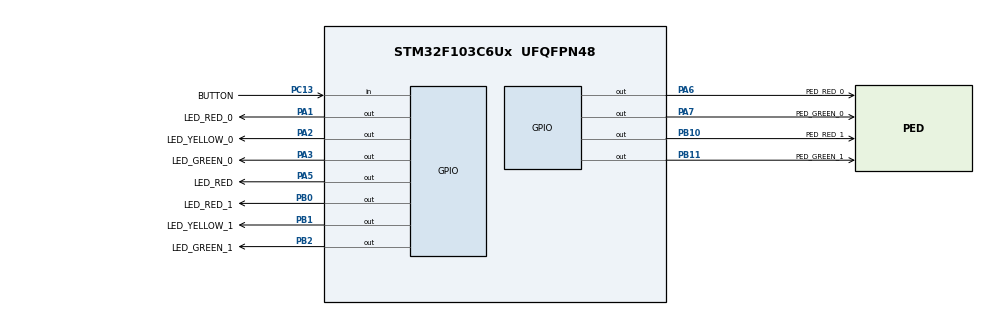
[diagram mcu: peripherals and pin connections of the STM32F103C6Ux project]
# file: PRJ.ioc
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Mcu.Family=STM32F1
Mcu.Name=STM32F103C6Ux
Mcu.Package=UFQFPN48
NVIC.PriorityGroup=NVIC_PRIORITYGROUP_4
NVIC.TIM2_IRQn=true\:0\:0\:false\:false\:true\:true\:true
PA1.GPIO_Label=LED_RED_0
PA1.Signal=GPIO_Output
PA2.GPIO_Label=LED_YELLOW_0
PA2.Signal=GPIO_Output
PA3.GPIO_Label=LED_GREEN_0
PA3.Signal=GPIO_Output
PA5.GPIO_Label=LED_RED
PA5.Signal=GPIO_Output
PA6.GPIO_Label=PED_RED_0
PA6.Signal=GPIO_Output
PA7.GPIO_Label=PED_GREEN_0
PA7.Signal=GPIO_Output
PB0.GPIO_Label=LED_RED_1
PB0.Signal=GPIO_Output
PB1.GPIO_Label=LED_YELLOW_1
PB1.Signal=GPIO_Output
PB10.GPIO_Label=PED_RED_1
PB10.Signal=GPIO_Output
PB11.GPIO_Label=PED_GREEN_1
PB11.Signal=GPIO_Output
PB2.GPIO_Label=LED_GREEN_1
PB2.Signal=GPIO_Output
PC13-TAMPER-RTC.GPIO_Label=BUTTON
PC13-TAMPER-RTC.GPIO_PuPd=GPIO_PULLUP
PC13-TAMPER-RTC.Signal=GPIO_Input
ProjectManager.HeapSize=0x200
ProjectManager.StackSize=0x400
ProjectManager.TargetToolchain=STM32CubeIDE
RCC.APB1Freq_Value=8000000
RCC.APB2Freq_Value=8000000
TIM2.Period=9
TIM2.Prescaler=7999
VP_SYS_VS_ND.Mode=No_Debug
VP_TIM2_VS_ClockSourceINT.Mode=Internal
board=custom

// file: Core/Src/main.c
/* USER CODE BEGIN Header */
/**
  ******************************************************************************
  * @file           : main.c
  * @brief          : Main program body
  ******************************************************************************
  * @attention
  *
  * <h2><center>&copy; Copyright (c) 2022 STMicroelectronics.
  * All rights reserved.</center></h2>
  *
  * This software component is licensed by ST under BSD 3-Clause license,
  * the "License"; You may not use this file except in compliance with the
  * License. You may obtain a copy of the License at:
  *                        opensource.org/licenses/BSD-3-Clause
  *
  ******************************************************************************
  */
/* USER CODE END Header */
#include "main.h"

/* USER CODE BEGIN Includes */
#define NORMAL_STATE GPIO_PIN_SET
#define PRESSED_STATE GPIO_PIN_RESET
/* USER CODE END Includes */

TIM_HandleTypeDef htim2;

void SystemClock_Config(void);
static void MX_GPIO_Init(void);
static void MX_TIM2_Init(void);

/* USER CODE BEGIN 0 */
int timer0_counter = 0;
int timer0_flag = 0;
void setTimer0(int duration) {
	timer0_counter = duration / 10;
	timer0_flag = 0;
}
void timerRun() {
	if (timer0_counter > 0) {
		timer0_counter--;
		if (timer0_counter <= 0) {
			timer0_flag = 1;
		}
	}
}

//********************************************************************************************//
int KeyGen0 = NORMAL_STATE;
int KeyGen1 = NORMAL_STATE;
int KeyGen2 = NORMAL_STATE;
int KeyGen3 = NORMAL_STATE;

int BUTTON_flag = 0;

int BUTTON_PRESSED() {
	if (BUTTON_flag == 1) {
		//BUTTON_flag = 0;
		return 1;
	}
	return 0;
}

void getKeyInput() {
	KeyGen0 = KeyGen1;
	KeyGen1 = KeyGen2;
	KeyGen2 = HAL_GPIO_ReadPin(BUTTON_GPIO_Port, BUTTON_Pin);

	if ((KeyGen0 == KeyGen1) && (KeyGen1 == KeyGen2)) {
		if (KeyGen3 != KeyGen2) {
			KeyGen3 = KeyGen2;
			if (KeyGen2 == NORMAL_STATE) {
				//TODO
				BUTTON_flag = 1;
			}
		}
	}
}

//********************************************************************************************//

int fsm_status = 0;
int counter = 0;
int red_length = 5;
int yellow_length = 2;
int green_length = 3;
int total_length = 10;

void fsm_run() {
	switch (fsm_status) {
		case 0:
			setTimer0(10);
			counter = total_length;
			HAL_GPIO_WritePin(LED_RED_GPIO_Port, LED_RED_Pin, 1);
			HAL_GPIO_WritePin(LED_RED_0_GPIO_Port, LED_RED_0_Pin, 1);
			HAL_GPIO_WritePin(LED_YELLOW_0_GPIO_Port, LED_YELLOW_0_Pin, 1);
			HAL_GPIO_WritePin(LED_GREEN_0_GPIO_Port, LED_GREEN_0_Pin, 1);
			HAL_GPIO_WritePin(LED_RED_1_GPIO_Port, LED_RED_1_Pin, 1);
			HAL_GPIO_WritePin(LED_YELLOW_1_GPIO_Port, LED_YELLOW_1_Pin, 1);
			HAL_GPIO_WritePin(LED_GREEN_1_GPIO_Port, LED_GREEN_1_Pin, 1);
			HAL_GPIO_WritePin(PED_RED_0_GPIO_Port, PED_RED_0_Pin, 1);
			HAL_GPIO_WritePin(PED_GREEN_0_GPIO_Port, PED_GREEN_0_Pin, 1);
			HAL_GPIO_WritePin(PED_RED_1_GPIO_Port, PED_RED_1_Pin, 1);
			HAL_GPIO_WritePin(PED_GREEN_1_GPIO_Port, PED_GREEN_1_Pin, 1);
			fsm_status = 1;
			break;
		case 1:
			if (green_length + yellow_length < counter && counter <= total_length) {
				HAL_GPIO_WritePin(LED_RED_0_GPIO_Port, LED_RED_0_Pin, 0);
				HAL_GPIO_WritePin(LED_YELLOW_0_GPIO_Port, LED_YELLOW_0_Pin, 1);
				HAL_GPIO_WritePin(LED_GREEN_0_GPIO_Port, LED_GREEN_0_Pin, 1);
				HAL_GPIO_WritePin(PED_RED_0_GPIO_Port, PED_RED_0_Pin, 1);
				HAL_GPIO_WritePin(PED_GREEN_0_GPIO_Port, PED_GREEN_0_Pin, 0);
				if (BUTTON_PRESSED() == 1) HAL_GPIO_WritePin(LED_RED_GPIO_Port, LED_RED_Pin, 0);
				//counter_0--;
			}

			if (red_length + yellow_length < counter && counter <= total_length) {
				HAL_GPIO_WritePin(LED_RED_1_GPIO_Port, LED_RED_1_Pin, 1);
				HAL_GPIO_WritePin(LED_YELLOW_1_GPIO_Port, LED_YELLOW_1_Pin, 1);
				HAL_GPIO_WritePin(LED_GREEN_1_GPIO_Port, LED_GREEN_1_Pin, 0);
				HAL_GPIO_WritePin(PED_RED_1_GPIO_Port, PED_RED_1_Pin, 0);
				HAL_GPIO_WritePin(PED_GREEN_1_GPIO_Port, PED_GREEN_1_Pin, 1);
				//counter_1--;
			}

			if (red_length < counter && counter <= total_length - green_length) {
				HAL_GPIO_WritePin(LED_RED_1_GPIO_Port, LED_RED_1_Pin, 1);
				HAL_GPIO_WritePin(LED_YELLOW_1_GPIO_Port, LED_YELLOW_1_Pin, 0);
				HAL_GPIO_WritePin(LED_GREEN_1_GPIO_Port, LED_GREEN_1_Pin, 1);
				HAL_GPIO_WritePin(PED_RED_1_GPIO_Port, PED_RED_1_Pin, 0);
				HAL_GPIO_WritePin(PED_GREEN_1_GPIO_Port, PED_GREEN_1_Pin, 1);
				//counter_1--;
			}

			if (timer0_flag == 1) {
				counter--;
				setTimer0(1000);
			}

			if (counter == green_length + yellow_length) {
				fsm_status = 2;
				BUTTON_flag = 0;
				break;
			}

			fsm_status = 1;

			break;

		case 2:
			if (yellow_length < counter && counter <= green_length + yellow_length) {
				HAL_GPIO_WritePin(LED_RED_0_GPIO_Port, LED_RED_0_Pin, 1);
				HAL_GPIO_WritePin(LED_YELLOW_0_GPIO_Port, LED_YELLOW_0_Pin, 1);
				HAL_GPIO_WritePin(LED_GREEN_0_GPIO_Port, LED_GREEN_0_Pin, 0);
				HAL_GPIO_WritePin(PED_RED_0_GPIO_Port, PED_RED_0_Pin, 0);
				HAL_GPIO_WritePin(PED_GREEN_0_GPIO_Port, PED_GREEN_0_Pin, 1);
				if (BUTTON_PRESSED() == 0) HAL_GPIO_WritePin(LED_RED_GPIO_Port, LED_RED_Pin, 1);
				//counter_0--;
			}

			if (0 < counter && counter <= yellow_length) {
				HAL_GPIO_WritePin(LED_RED_0_GPIO_Port, LED_RED_0_Pin, 1);
				HAL_GPIO_WritePin(LED_YELLOW_0_GPIO_Port, LED_YELLOW_0_Pin, 0);
				HAL_GPIO_WritePin(LED_GREEN_0_GPIO_Port, LED_GREEN_0_Pin, 1);
				HAL_GPIO_WritePin(PED_RED_0_GPIO_Port, PED_RED_0_Pin, 0);
				HAL_GPIO_WritePin(PED_GREEN_0_GPIO_Port, PED_GREEN_0_Pin, 1);
				if (BUTTON_PRESSED() == 0) HAL_GPIO_WritePin(LED_RED_GPIO_Port, LED_RED_Pin, 1);
				//counter_0--;
			}

			if (0 < counter && counter <= red_length) {
				HAL_GPIO_WritePin(LED_RED_1_GPIO_Port, LED_RED_1_Pin, 0);
				HAL_GPIO_WritePin(LED_YELLOW_1_GPIO_Port, LED_YELLOW_1_Pin, 1);
				HAL_GPIO_WritePin(LED_GREEN_1_GPIO_Port, LED_GREEN_1_Pin, 1);
				HAL_GPIO_WritePin(PED_RED_1_GPIO_Port, PED_RED_1_Pin, 1);
				HAL_GPIO_WritePin(PED_GREEN_1_GPIO_Port, PED_GREEN_1_Pin, 0);
				//counter_1--;
			}

			if (timer0_flag == 1) {
				counter--;
				setTimer0(1000);
			}

			if (counter == 0) {
				fsm_status = 0;
				break;
			}

			/*if (//buttonpressed) {
			 * fsm_status = 3;
			 * setTimer0()
			 * }*/

			fsm_status = 2;
			break;

		default:
			break;
	}
}
/* USER CODE END 0 */

int main(void)
{

  /* MCU Configuration--------------------------------------------------------*/

  /* Reset of all peripherals, Initializes the Flash interface and the Systick. */
  HAL_Init();

  /* Configure the system clock */
  SystemClock_Config();

  /* Initialize all configured peripherals */
  MX_GPIO_Init();
  MX_TIM2_Init();
  /* USER CODE BEGIN 2 */
  HAL_TIM_Base_Start_IT(&htim2);
  /* USER CODE END 2 */

  /* Infinite loop */
  /* USER CODE BEGIN WHILE */
  while (1)
  {

	  fsm_run();
    /* USER CODE END WHILE */

  }
}

void SystemClock_Config(void)
{
  RCC_OscInitTypeDef RCC_OscInitStruct = {0};
  RCC_ClkInitTypeDef RCC_ClkInitStruct = {0};

  /** Initializes the RCC Oscillators according to the specified parameters
  * in the RCC_OscInitTypeDef structure.
  */
  RCC_OscInitStruct.OscillatorType = RCC_OSCILLATORTYPE_HSI;
  RCC_OscInitStruct.HSIState = RCC_HSI_ON;
  RCC_OscInitStruct.HSICalibrationValue = RCC_HSICALIBRATION_DEFAULT;
  RCC_OscInitStruct.PLL.PLLState = RCC_PLL_NONE;
  if (HAL_RCC_OscConfig(&RCC_OscInitStruct) != HAL_OK)
  {
    Error_Handler();
  }
  /** Initializes the CPU, AHB and APB buses clocks
  */
  RCC_ClkInitStruct.ClockType = RCC_CLOCKTYPE_HCLK|RCC_CLOCKTYPE_SYSCLK
                              |RCC_CLOCKTYPE_PCLK1|RCC_CLOCKTYPE_PCLK2;
  RCC_ClkInitStruct.SYSCLKSource = RCC_SYSCLKSOURCE_HSI;
  RCC_ClkInitStruct.AHBCLKDivider = RCC_SYSCLK_DIV1;
  RCC_ClkInitStruct.APB1CLKDivider = RCC_HCLK_DIV1;
  RCC_ClkInitStruct.APB2CLKDivider = RCC_HCLK_DIV1;

  if (HAL_RCC_ClockConfig(&RCC_ClkInitStruct, FLASH_LATENCY_0) != HAL_OK)
  {
    Error_Handler();
  }
}

static void MX_TIM2_Init(void)
{

  TIM_ClockConfigTypeDef sClockSourceConfig = {0};
  TIM_MasterConfigTypeDef sMasterConfig = {0};

  htim2.Instance = TIM2;
  htim2.Init.Prescaler = 7999;
  htim2.Init.CounterMode = TIM_COUNTERMODE_UP;
  htim2.Init.Period = 9;
  htim2.Init.ClockDivision = TIM_CLOCKDIVISION_DIV1;
  htim2.Init.AutoReloadPreload = TIM_AUTORELOAD_PRELOAD_DISABLE;
  if (HAL_TIM_Base_Init(&htim2) != HAL_OK)
  {
    Error_Handler();
  }
  sClockSourceConfig.ClockSource = TIM_CLOCKSOURCE_INTERNAL;
  if (HAL_TIM_ConfigClockSource(&htim2, &sClockSourceConfig) != HAL_OK)
  {
    Error_Handler();
  }
  sMasterConfig.MasterOutputTrigger = TIM_TRGO_RESET;
  sMasterConfig.MasterSlaveMode = TIM_MASTERSLAVEMODE_DISABLE;
  if (HAL_TIMEx_MasterConfigSynchronization(&htim2, &sMasterConfig) != HAL_OK)
  {
    Error_Handler();
  }

}

static void MX_GPIO_Init(void)
{
  GPIO_InitTypeDef GPIO_InitStruct = {0};

  /* GPIO Ports Clock Enable */
  __HAL_RCC_GPIOC_CLK_ENABLE();
  __HAL_RCC_GPIOA_CLK_ENABLE();
  __HAL_RCC_GPIOB_CLK_ENABLE();

  /*Configure GPIO pin Output Level */
  HAL_GPIO_WritePin(GPIOA, LED_RED_0_Pin|LED_YELLOW_0_Pin|LED_GREEN_0_Pin|LED_RED_Pin
                          |PED_RED_0_Pin|PED_GREEN_0_Pin, GPIO_PIN_RESET);

  /*Configure GPIO pin Output Level */
  HAL_GPIO_WritePin(GPIOB, LED_RED_1_Pin|LED_YELLOW_1_Pin|LED_GREEN_1_Pin|PED_RED_1_Pin
                          |PED_GREEN_1_Pin, GPIO_PIN_RESET);

  /*Configure GPIO pin : BUTTON_Pin */
  GPIO_InitStruct.Pin = BUTTON_Pin;
  GPIO_InitStruct.Mode = GPIO_MODE_INPUT;
  GPIO_InitStruct.Pull = GPIO_PULLUP;
  HAL_GPIO_Init(BUTTON_GPIO_Port, &GPIO_InitStruct);

  /*Configure GPIO pins : LED_RED_0_Pin LED_YELLOW_0_Pin LED_GREEN_0_Pin LED_RED_Pin
                           PED_RED_0_Pin PED_GREEN_0_Pin */
  GPIO_InitStruct.Pin = LED_RED_0_Pin|LED_YELLOW_0_Pin|LED_GREEN_0_Pin|LED_RED_Pin
                          |PED_RED_0_Pin|PED_GREEN_0_Pin;
  GPIO_InitStruct.Mode = GPIO_MODE_OUTPUT_PP;
  GPIO_InitStruct.Pull = GPIO_NOPULL;
  GPIO_InitStruct.Speed = GPIO_SPEED_FREQ_LOW;
  HAL_GPIO_Init(GPIOA, &GPIO_InitStruct);

  /*Configure GPIO pins : LED_RED_1_Pin LED_YELLOW_1_Pin LED_GREEN_1_Pin PED_RED_1_Pin
                           PED_GREEN_1_Pin */
  GPIO_InitStruct.Pin = LED_RED_1_Pin|LED_YELLOW_1_Pin|LED_GREEN_1_Pin|PED_RED_1_Pin
                          |PED_GREEN_1_Pin;
  GPIO_InitStruct.Mode = GPIO_MODE_OUTPUT_PP;
  GPIO_InitStruct.Pull = GPIO_NOPULL;
  GPIO_InitStruct.Speed = GPIO_SPEED_FREQ_LOW;
  HAL_GPIO_Init(GPIOB, &GPIO_InitStruct);

}

/* USER CODE BEGIN 4 */
void HAL_TIM_PeriodElapsedCallback(TIM_HandleTypeDef *htim){
	getKeyInput();
	timerRun();
}
/* USER CODE END 4 */

void Error_Handler(void)
{
  __disable_irq();
  while (1)
  {
  }
}

/************************ (C) COPYRIGHT STMicroelectronics *****END OF FILE****/
